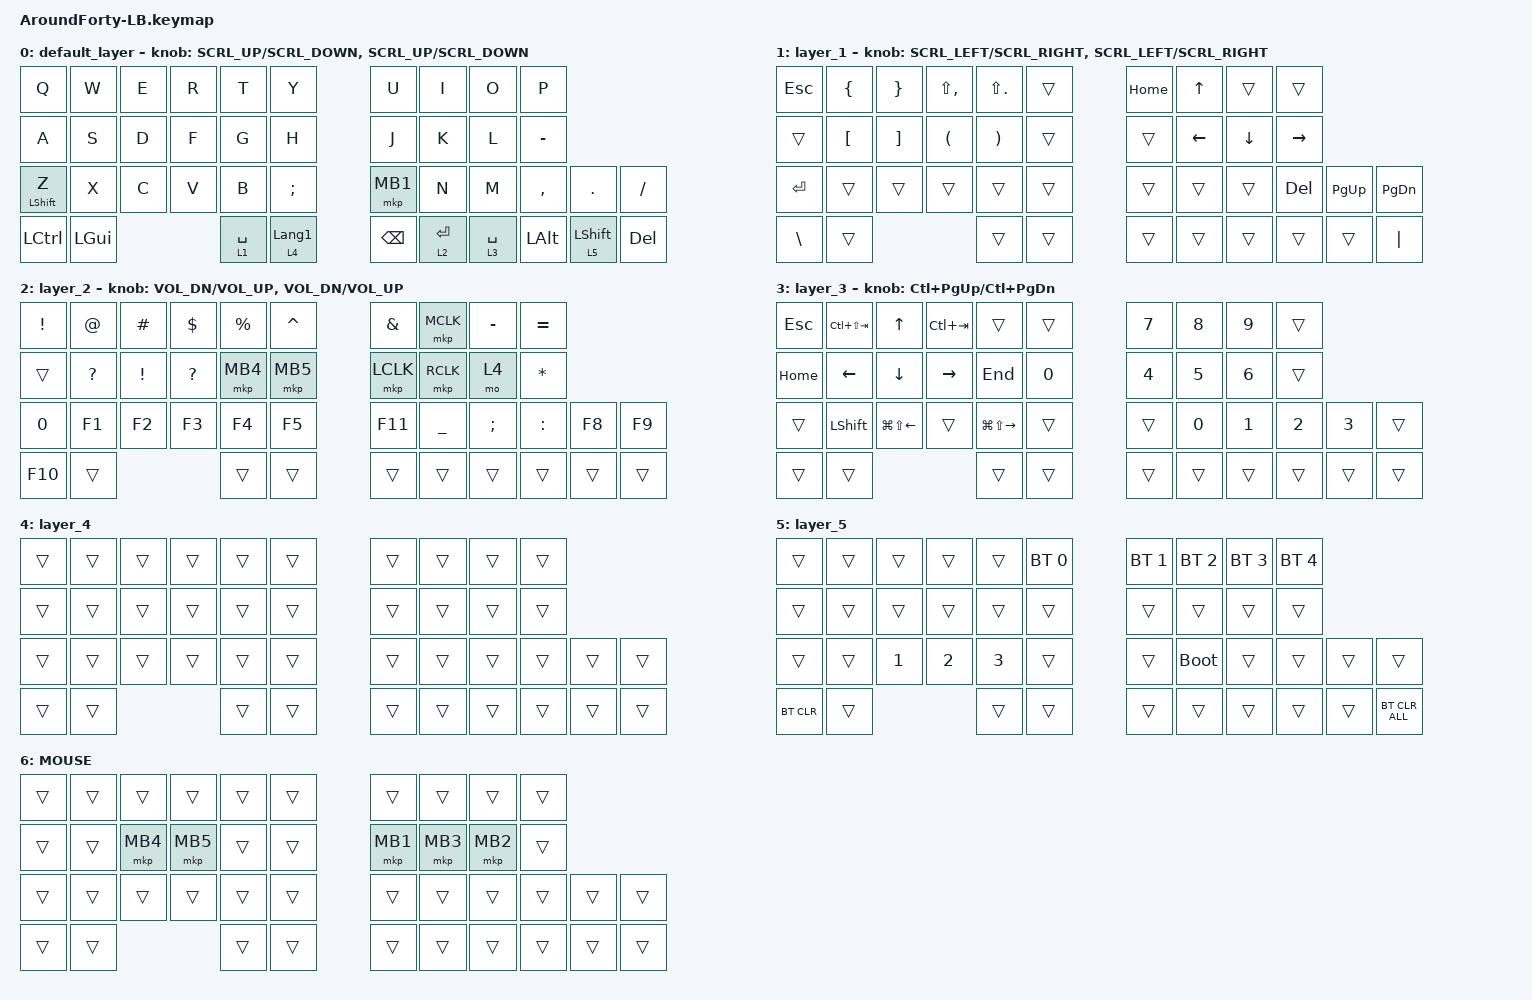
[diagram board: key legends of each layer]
#include <behaviors.dtsi>
#include <dt-bindings/zmk/bt.h>
#include <dt-bindings/zmk/keys.h>
#include <dt-bindings/zmk/pointing.h>

#undef ZMK_POINTING_DEFAULT_SCRL_VAL

#define ZMK_POINTING_DEFAULT_SCRL_VAL 100
#define MOUSE 6

&mt {
    flavor = "balanced";
    quick-tap-ms = <0>;
};

/ {
    //コンボ設定

    combos {
        compatible = "zmk,combos";

        tab {
            bindings = <&kp TAB>;
            key-positions = <11 12>;
        };

        shift_tab {
            bindings = <&kp LS(TAB)>;
            key-positions = <12 13>;
        };

        muhennkann {
            bindings = <&to_layer_0 INT_MUHENKAN>;
            key-positions = <11 10>;
        };

        double_quotation {
            bindings = <&kp DOUBLE_QUOTES>;
            key-positions = <20 21>;
        };

        eq {
            bindings = <&kp EQUAL>;
            key-positions = <24 25>;
        };
    };

    //マクロ(既存のキーの組み合わせ)

    macros {
        to_layer_0: to_layer_0 {
            compatible = "zmk,behavior-macro-one-param";
            #binding-cells = <1>;
            bindings = <&to 0 &macro_param_1to1 &kp MACRO_PLACEHOLDER>;
            label = "TO_LAYER_0";
        };
    };

    //新たな動作を定義する

    behaviors {
        lt_to_layer_0: lt_to_layer_0 {
            compatible = "zmk,behavior-hold-tap";
            label = "LAYER_TAP_TO_0";
            bindings = <&mo>, <&to_layer_0>;

            #binding-cells = <2>;
            tapping-term-ms = <200>;
        };

        mouse_scroll: mouse_wheel_scrl {
            compatible = "zmk,behavior-sensor-rotate-var";
            #sensor-binding-cells = <2>;
            bindings = <&msc>, <&msc>;

            tap-ms = <20>;
        };
    };

    //キーマップ設定

    keymap {
        compatible = "zmk,keymap";

        default_layer {
            bindings = <
&kp Q             &kp W         &kp E  &kp R  &kp T          &kp Y                        &kp U          &kp I        &kp O        &kp P
&kp A             &kp S         &kp D  &kp F  &kp G          &kp H                        &kp J          &kp K        &kp L        &kp MINUS
&mt LEFT_SHIFT Z  &kp X         &kp C  &kp V  &kp B          &kp SEMICOLON                &mkp MB1       &kp N        &kp M        &kp COMMA     &kp PERIOD        &kp SLASH
&kp LCTRL         &kp LEFT_GUI                &lt 1 SPACE    &lt_to_layer_0 4 LANGUAGE_1  &kp BACKSPACE  &lt 2 ENTER  &lt 3 SPACE  &kp LEFT_ALT  &lt 5 LEFT_SHIFT  &kp DEL
            >;

            sensor-bindings =
                <&mouse_scroll SCRL_UP SCRL_DOWN>,
                <&mouse_scroll SCRL_UP SCRL_DOWN>;
        };

        layer_1 {
            bindings = <
&kp ESCAPE     &kp LEFT_BRACE    &kp RIGHT_BRACE    &kp LS(COMMA)         &kp LS(PERIOD)           &trans  &kp HOME  &kp UP_ARROW    &trans          &trans
&trans         &kp LEFT_BRACKET  &kp RIGHT_BRACKET  &kp LEFT_PARENTHESIS  &kp RIGHT_PARENTHESIS    &trans  &trans    &kp LEFT_ARROW  &kp DOWN_ARROW  &kp RIGHT_ARROW
&kp ENTER      &trans            &trans             &trans                &trans                   &trans  &trans    &trans          &trans          &kp DEL          &kp PAGE_UP  &kp PAGE_DOWN
&kp BACKSLASH  &trans                                                     &trans                   &trans  &trans    &trans          &trans          &trans           &trans       &kp PIPE
            >;

            sensor-bindings =
                <&mouse_scroll SCRL_LEFT SCRL_RIGHT>,
                <&mouse_scroll SCRL_LEFT SCRL_RIGHT>;
        };

        layer_2 {
            bindings = <
&kp EXCLAMATION  &kp AT_SIGN   &kp HASH         &kp DOLLAR    &kp PERCENT    &kp CARET  &kp AMPERSAND  &mkp MCLK       &kp MINUS      &kp EQUAL
&trans           &kp QUESTION  &kp EXCLAMATION  &kp QUESTION  &mkp MB4       &mkp MB5   &mkp LCLK      &mkp RCLK       &mo 4          &kp ASTERISK
&kp 0            &kp F1        &kp F2           &kp F3        &kp F4         &kp F5     &kp F11        &kp UNDERSCORE  &kp SEMICOLON  &kp COLON     &kp F8  &kp F9
&kp F10          &trans                                       &trans         &trans     &trans         &trans          &trans         &trans        &trans  &trans
            >;

            sensor-bindings =
                <&inc_dec_kp C_VOL_DN C_VOL_UP>,
                <&inc_dec_kp C_VOL_DN C_VOL_UP>;
        };

        layer_3 {
            bindings = <
&kp ESCAPE  &kp LC(LS(TAB))  &kp UP_ARROW            &kp LC(TAB)      &trans                     &trans  &kp N7        &kp N8  &kp N9        &trans
&kp HOME    &kp LEFT_ARROW   &kp DOWN_ARROW          &kp RIGHT_ARROW  &kp END                    &kp N0  &kp NUMBER_4  &kp N5  &kp NUMBER_6  &trans
&trans      &kp LEFT_SHIFT   &kp LG(LS(LEFT_ARROW))  &trans           &kp LG(LS(RIGHT_ARROW))    &trans  &trans        &kp N0  &kp NUMBER_1  &kp NUMBER_2  &kp NUMBER_3  &trans
&trans      &trans                                                    &trans                     &trans  &trans        &trans  &trans        &trans        &trans        &trans
            >;

            sensor-bindings = <&inc_dec_kp LC(PAGE_UP) LC(PAGE_DOWN)>;
        };

        layer_4 {
            bindings = <
&trans  &trans  &trans  &trans  &trans    &trans  &trans  &trans  &trans  &trans
&trans  &trans  &trans  &trans  &trans    &trans  &trans  &trans  &trans  &trans
&trans  &trans  &trans  &trans  &trans    &trans  &trans  &trans  &trans  &trans  &trans  &trans
&trans  &trans                  &trans    &trans  &trans  &trans  &trans  &trans  &trans  &trans
            >;
        };

        layer_5 {
            bindings = <
&trans      &trans  &trans        &trans        &trans          &bt BT_SEL 0  &bt BT_SEL 1  &bt BT_SEL 2  &bt BT_SEL 3  &bt BT_SEL 4
&trans      &trans  &trans        &trans        &trans          &trans        &trans        &trans        &trans        &trans
&trans      &trans  &kp NUMBER_1  &kp NUMBER_2  &kp NUMBER_3    &trans        &trans        &bootloader   &trans        &trans        &trans  &trans
&bt BT_CLR  &trans                              &trans          &trans        &trans        &trans        &trans        &trans        &trans  &bt BT_CLR_ALL
            >;
        };

        MOUSE {
            bindings = <
&trans  &trans  &trans    &trans    &trans    &trans  &trans    &trans    &trans    &trans
&trans  &trans  &mkp MB4  &mkp MB5  &trans    &trans  &mkp MB1  &mkp MB3  &mkp MB2  &trans
&trans  &trans  &trans    &trans    &trans    &trans  &trans    &trans    &trans    &trans  &trans  &trans
&trans  &trans                      &trans    &trans  &trans    &trans    &trans    &trans  &trans  &trans
            >;
        };
    };
};
